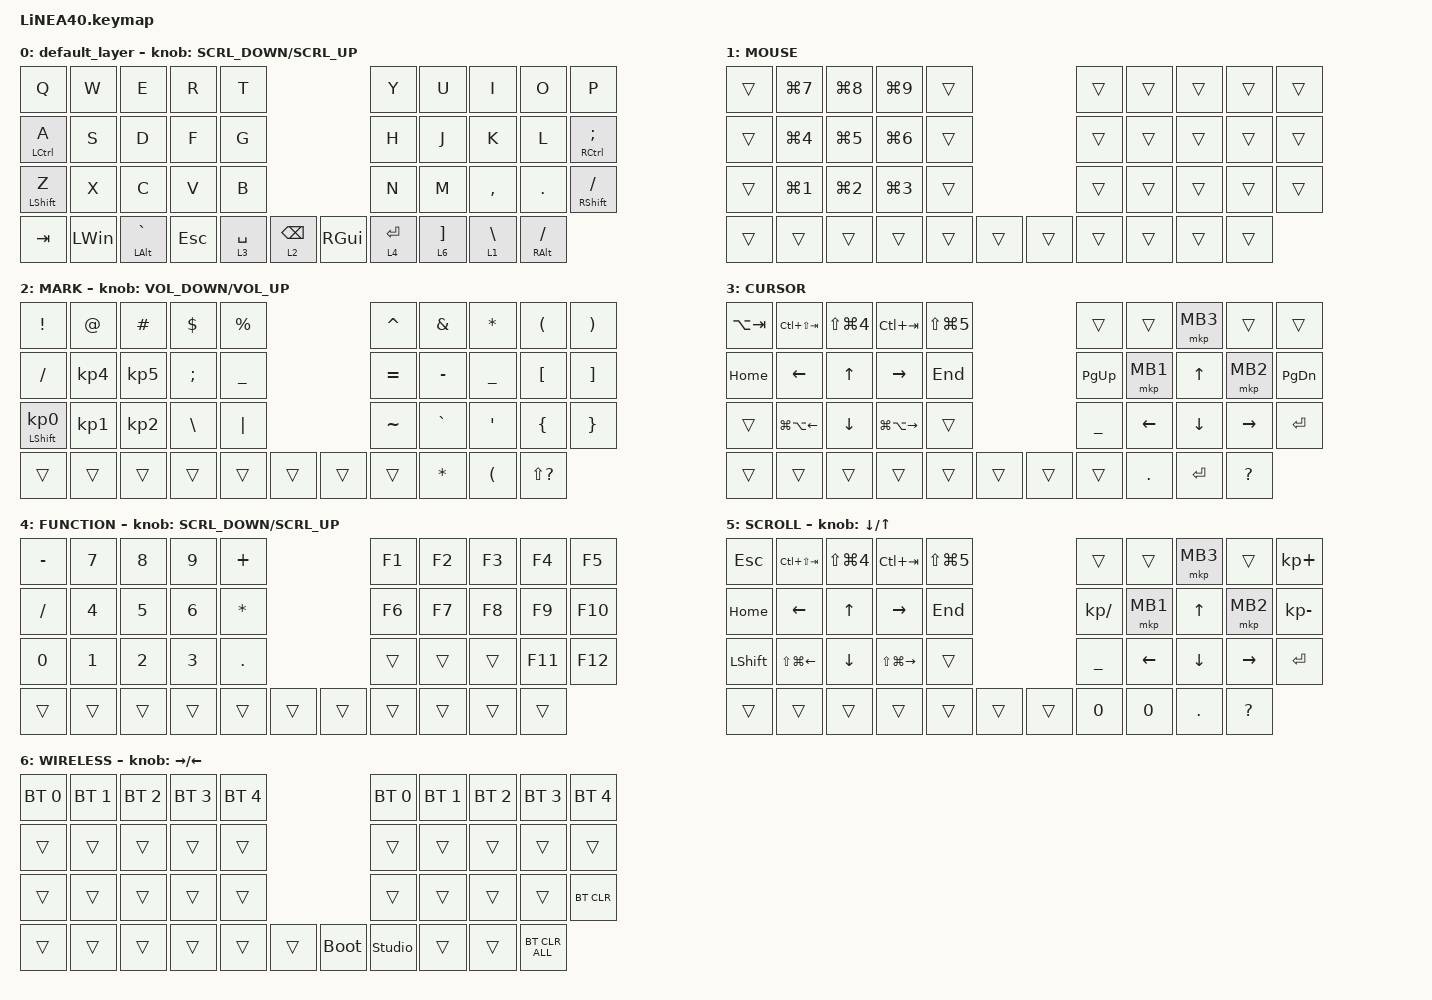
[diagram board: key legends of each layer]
#define ZMK_POINTING_DEFAULT_SCRL_VAL 150

#include <dt-bindings/zmk/input_transform.h>
#include <input/processors.dtsi>
#include <zephyr/dt-bindings/input/input-event-codes.h>
#include <behaviors.dtsi>
#include <dt-bindings/zmk/bt.h>
#include <dt-bindings/zmk/keys.h>
#include <dt-bindings/zmk/pointing.h>

#define MOUSE 1
#define MARK 2
#define CURSOR 3
#define FUNCTION 4
#define SCROLL 5
#define WIRELESS 6

//mouse cursol

&mmv {
    delay-ms = <20>;
    trigger-period-ms = <5>;
    time-to-max-speed-ms = <100>;
    acceleration-exponent = <2>;
};

//mouse scroll

&msc {
    delay-ms = <3>;
    trigger-period-ms = <3>;
    time-to-max-speed-ms = <100>;
    acceleration-exponent = <0>;
};

// hold control

&mt {
    tapping-term-ms = <300>;
    require-prior-idle-ms = <150>;
    flavor = "tap-preferred";
};

&lt {
    tapping-term-ms = <300>;
    require-prior-idle-ms = <150>;
    flavor = "tap-preferred";
};

/ {
    input_processors {
        zip_wheel_scaler: zip_wheel_scaler {
            compatible = "zmk,input-processor-scaler";
            #input-processor-cells = <2>;
            type = <INPUT_EV_REL>;
            codes = <INPUT_REL_WHEEL>;
            track-remainders;
        };
    };
};

&msc_input_listener {
    speed_up {
        layers = <FUNCTION>;
        input-processors = <&zip_wheel_scaler 3 1>; //スクロールを3倍速にする
    };
};

&trackball_listener {
    scroller {
        layers = <SCROLL>;
        input-processors =
            <&zip_xy_transform INPUT_TRANSFORM_Y_INVERT>,
            //スクロール方向を逆転,,,,,,,,,,,,
            <&zip_xy_to_scroll_mapper>;
    };
};

/ {
    combos {
        compatible = "zmk,combos";

        tab {
            bindings = <&kp TAB>;
            key-positions = <11 12>;
        };

        sTAB {
            bindings = <&kp LS(TAB)>;
            key-positions = <12 13>;
        };

        quot {
            bindings = <&kp SINGLE_QUOTE>;
            key-positions = <18 17>;
        };

        dQuot {
            bindings = <&kp DOUBLE_QUOTES>;
            key-positions = <19 18>;
        };
    };

    behaviors {
        re_kp: sensor_rotate_kp {
            compatible = "zmk,behavior-sensor-rotate-var";
            #sensor-binding-cells = <2>;
            bindings = <&kp>, <&kp>;
        };

        mouse_scrl: mouse_wheel_scrl {
            compatible = "zmk,behavior-sensor-rotate-var";
            #sensor-binding-cells = <2>;
            bindings = <&msc>, <&msc>;

            tap-ms = <20>;
        };
    };

    keymap {
        compatible = "zmk,keymap";

        default_layer {
            bindings = <
&kp Q             &kp W         &kp E               &kp R    &kp T                                          &kp Y        &kp U  &kp I                &kp O            &kp P
&mt LCTRL A       &kp S         &kp D               &kp F    &kp G                                          &kp H        &kp J  &kp K                &kp L            &mt RCTRL SEMICOLON
&mt LEFT_SHIFT Z  &kp X         &kp C               &kp V    &kp B                                          &kp N        &kp M  &kp COMMA            &kp DOT          &mt RIGHT_SHIFT SLASH
&kp TAB           &kp LEFT_WIN  &mt LEFT_ALT GRAVE  &kp ESC  &lt 3 SPACE  &lt 2 BACKSPACE    &kp RIGHT_GUI  &lt 4 ENTER         &lt 6 RIGHT_BRACKET  &lt 1 BACKSLASH  &mt RIGHT_ALT SLASH
            >;

            sensor-bindings = <&mouse_scrl SCRL_DOWN SCRL_UP>;
        };

        //1

        MOUSE {
            bindings = <
&trans  &kp LG(N7)        &kp LG(NUMBER_8)  &kp LG(NUMBER_9)  &trans                    &trans  &trans  &trans  &trans  &trans
&trans  &kp LG(NUMBER_4)  &kp LG(N5)        &kp LG(NUMBER_6)  &trans                    &trans  &trans  &trans  &trans  &trans
&trans  &kp LG(NUMBER_1)  &kp LG(NUMBER_2)  &kp LG(NUMBER_3)  &trans                    &trans  &trans  &trans  &trans  &trans
&trans  &trans            &trans            &trans            &trans  &trans    &trans  &trans          &trans  &trans  &trans
            >;
        };

        //2

        MARK {
            bindings = <
&kp EXCLAMATION             &kp AT           &kp HASH         &kp DOLLAR     &kp PERCENT                       &kp CARET  &kp AMPERSAND  &kp ASTERISK    &kp LEFT_PARENTHESIS  &kp RIGHT_PARENTHESIS
&kp SLASH                   &kp KP_NUMBER_4  &kp KP_NUMBER_5  &kp SEMICOLON  &kp UNDERSCORE                    &kp EQUAL  &kp MINUS      &kp UNDERSCORE  &kp LEFT_BRACKET      &kp RIGHT_BRACKET
&mt LEFT_SHIFT KP_NUMBER_0  &kp KP_NUMBER_1  &kp KP_NUMBER_2  &kp BACKSLASH  &kp PIPE                          &kp TILDE  &kp GRAVE      &kp SQT         &kp LEFT_BRACE        &kp RIGHT_BRACE
&trans                      &trans           &trans           &trans         &trans          &trans    &trans  &trans                    &kp ASTERISK    &kp LEFT_PARENTHESIS  &kp LS(QUESTION)
            >;

            sensor-bindings = <&re_kp C_VOLUME_DOWN C_VOLUME_UP>;
        };

        //3

        CURSOR {
            bindings = <
&kp LA(TAB)  &kp LC(LS(TAB))         &kp LS(LG(NUMBER_4))  &kp LC(TAB)              &kp LS(LG(N5))                    &trans       &trans          &mkp MB3        &trans           &trans
&kp HOME     &kp LEFT_ARROW          &kp UP_ARROW          &kp RIGHT_ARROW          &kp END                           &kp PAGE_UP  &mkp MB1        &kp UP_ARROW    &mkp MB2         &kp PAGE_DOWN
&trans       &kp LG(LA(LEFT_ARROW))  &kp DOWN_ARROW        &kp LG(LA(RIGHT_ARROW))  &trans                            &kp UNDER    &kp LEFT_ARROW  &kp DOWN_ARROW  &kp RIGHT_ARROW  &kp ENTER
&trans       &trans                  &trans                &trans                   &trans          &trans    &trans  &trans                       &kp DOT         &kp ENTER        &kp QUESTION
            >;
        };

        //4

        FUNCTION {
            bindings = <
&kp MINUS     &kp NUMBER_7  &kp NUMBER_8  &kp NUMBER_9  &kp PLUS                        &kp F1  &kp F2  &kp F3  &kp F4   &kp F5
&kp SLASH     &kp NUMBER_4  &kp NUMBER_5  &kp NUMBER_6  &kp ASTERISK                    &kp F6  &kp F7  &kp F8  &kp F9   &kp F10
&kp NUMBER_0  &kp NUMBER_1  &kp NUMBER_2  &kp NUMBER_3  &kp PERIOD                      &trans  &trans  &trans  &kp F11  &kp F12
&trans        &trans        &trans        &trans        &trans        &trans    &trans  &trans          &trans  &trans   &trans
            >;

            sensor-bindings = <&mouse_scrl SCRL_DOWN SCRL_UP>;
        };

        //5

        SCROLL {
            bindings = <
&kp ESC         &kp LC(LS(TAB))         &kp LS(LG(NUMBER_4))  &kp LC(TAB)              &kp LS(LG(N5))                    &trans        &trans          &mkp MB3        &trans           &kp KP_PLUS
&kp HOME        &kp LEFT_ARROW          &kp UP_ARROW          &kp RIGHT_ARROW          &kp END                           &kp KP_SLASH  &mkp MB1        &kp UP_ARROW    &mkp MB2         &kp KP_MINUS
&kp LEFT_SHIFT  &kp LS(LG(LEFT_ARROW))  &kp DOWN_ARROW        &kp LS(LG(RIGHT_ARROW))  &trans                            &kp UNDER     &kp LEFT_ARROW  &kp DOWN_ARROW  &kp RIGHT_ARROW  &kp ENTER
&trans          &trans                  &trans                &trans                   &trans          &trans    &trans  &kp NUMBER_0                  &kp NUMBER_0    &kp DOT          &kp QUESTION
            >;

            sensor-bindings = <&inc_dec_kp DOWN_ARROW UP_ARROW>;
        };

        //6

        WIRELESS {
            bindings = <
&bt BT_SEL 0  &bt BT_SEL 1  &bt BT_SEL 2  &bt BT_SEL 3  &bt BT_SEL 4                         &bt BT_SEL 0    &bt BT_SEL 1  &bt BT_SEL 2  &bt BT_SEL 3  &bt BT_SEL 4
&trans        &trans        &trans        &trans        &trans                               &trans          &trans        &trans        &trans        &trans
&trans        &trans        &trans        &trans        &trans                               &trans          &trans        &trans        &trans        &bt BT_CLR
&trans        &trans        &trans        &trans        &trans        &trans    &bootloader  &studio_unlock                &trans        &trans        &bt BT_CLR_ALL
            >;

            sensor-bindings = <&inc_dec_kp RIGHT_ARROW LEFT_ARROW>;
        };
    };
};
